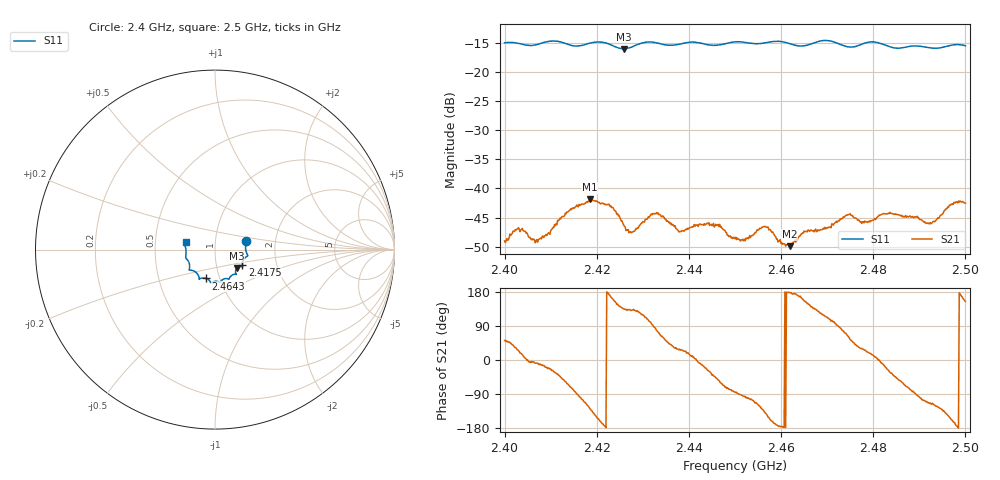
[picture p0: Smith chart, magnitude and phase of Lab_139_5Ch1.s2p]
# Hz S RI R 50
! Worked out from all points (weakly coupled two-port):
!   601 points, 2.4 GHz to 2.5 GHz, reference 50 ohm
!   highest |S21| = -41.90 dB at 2.4185 GHz (marker M1); lowest = -49.9 dB at 2.4618 GHz (marker M2)
!   lowest |S11| = -15.9 dB at 2.4258 GHz (marker M3), VSWR 1.38, Z = 62.3 - j13.2 ohm
!   |S11| at or under -10 dB: start of sweep to end of sweep
!   S12 and S22 are empty: the file has one direction only
!   S11 on the Smith chart (normalised r, x): 2.4 GHz: 1.41, +0.14; 2.4175 GHz: 1.34, -0.23; 2.4643 GHz: 0.86, -0.29; 2.5 GHz: 0.72, +0.06
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2.4e9  0.173 0.0488  0.0022 0.00277  0 0  0 0
2.403333e9  0.1738 0.0316  0.00404 0.00135  0 0  0 0
2.407167e9  0.1738 -0.0118  0.00341 -0.0005  0 0  0 0
2.416667e9  0.1533 -0.074  -0.00163 -0.00715  0 0  0 0
2.4175e9  0.1523 -0.0836  -0.00279 -0.00686  0 0  0 0
2.4185e9  0.1527 -0.0922  -0.00494 -0.00634  0 0  0 0
2.423e9  0.1452 -0.0944  -0.00691 0.00158  0 0  0 0
2.425833e9  0.1216 -0.1031  -0.00342 0.00342  0 0  0 0
2.427833e9  0.1144 -0.1214  -0.00285 0.00315  0 0  0 0
2.433333e9  0.1132 -0.1371  0.00174 0.00591  0 0  0 0
2.437833e9  0.0833 -0.1533  0.00376 0.00191  0 0  0 0
2.444333e9  0.061 -0.1611  0.00442 -0.00248  0 0  0 0
2.45e9  0.0289 -0.1808  0.000361 -0.00367  0 0  0 0
2.456667e9  -0.0113 -0.1795  -0.00363 -0.00294  0 0  0 0
2.461833e9  -0.0297 -0.1742  -0.00318 8.89e-05  0 0  0 0
2.464333e9  -0.0499 -0.161  -0.00392 0.00104  0 0  0 0
2.466667e9  -0.0761 -0.1593  -0.00336 0.00274  0 0  0 0
2.4745e9  -0.1016 -0.1312  0.00267 0.00531  0 0  0 0
2.478e9  -0.1351 -0.1154  0.00451 0.00228  0 0  0 0
2.483333e9  -0.1412 -0.0901  0.00544 -0.00284  0 0  0 0
2.492167e9  -0.1613 -0.0236  -0.00205 -0.00451  0 0  0 0
2.5e9  -0.164 0.0429  -0.00673 0.00322  0 0  0 0
